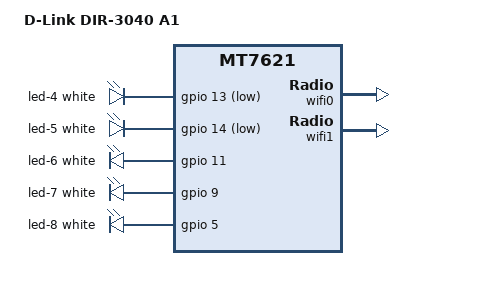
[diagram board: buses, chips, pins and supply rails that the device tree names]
// SPDX-License-Identifier: GPL-2.0-or-later OR MIT

#include "mt7621_dlink_dir_nand_128m.dtsi"

/ {
	compatible = "dlink,dir-3040-a1", "mediatek,mt7621-soc";
	model = "D-Link DIR-3040 A1";
};

&wps {
	gpios = <&gpio 6 GPIO_ACTIVE_LOW>;
};

&leds {
	led-4 {
		function = LED_FUNCTION_USB;
		color = <LED_COLOR_ID_WHITE>;
		function-enumerator = <2>;
		gpios = <&gpio 13 GPIO_ACTIVE_LOW>;
		trigger-sources = <&ehci_port2>;
		linux,default-trigger = "usbport";
	};

	led-5 {
		function = LED_FUNCTION_USB;
		color = <LED_COLOR_ID_WHITE>;
		function-enumerator = <3>;
		gpios = <&gpio 14 GPIO_ACTIVE_LOW>;
		trigger-sources = <&xhci_ehci_port1>;
		linux,default-trigger = "usbport";
	};

	led-6 {
		function = LED_FUNCTION_WLAN_2GHZ;
		color = <LED_COLOR_ID_WHITE>;
		gpios = <&gpio 11 GPIO_ACTIVE_HIGH>;
		linux,default-trigger = "phy0radio";
	};

	led-7 {
		function = LED_FUNCTION_WLAN_5GHZ;
		color = <LED_COLOR_ID_WHITE>;
		function-enumerator = <0>;
		gpios = <&gpio 9 GPIO_ACTIVE_HIGH>;
		linux,default-trigger = "phy1radio";
	};

	led-8 {
		function = LED_FUNCTION_WLAN_5GHZ;
		color = <LED_COLOR_ID_WHITE>;
		function-enumerator = <1>;
		gpios = <&gpio 5 GPIO_ACTIVE_HIGH>;
		linux,default-trigger = "phy2radio";
	};
};

&wifi0 {
	nvmem-cells = <&eeprom_factory_0>, <&macaddr_factory_e000 1>;
	nvmem-cell-names = "eeprom", "mac-address";
	ieee80211-freq-limit;
	/delete-property/ ieee80211-freq-limit;
};

&wifi1 {
	nvmem-cells = <&eeprom_factory_8000>, <&macaddr_factory_e000 3>;
	nvmem-cell-names = "eeprom", "mac-address";
};
